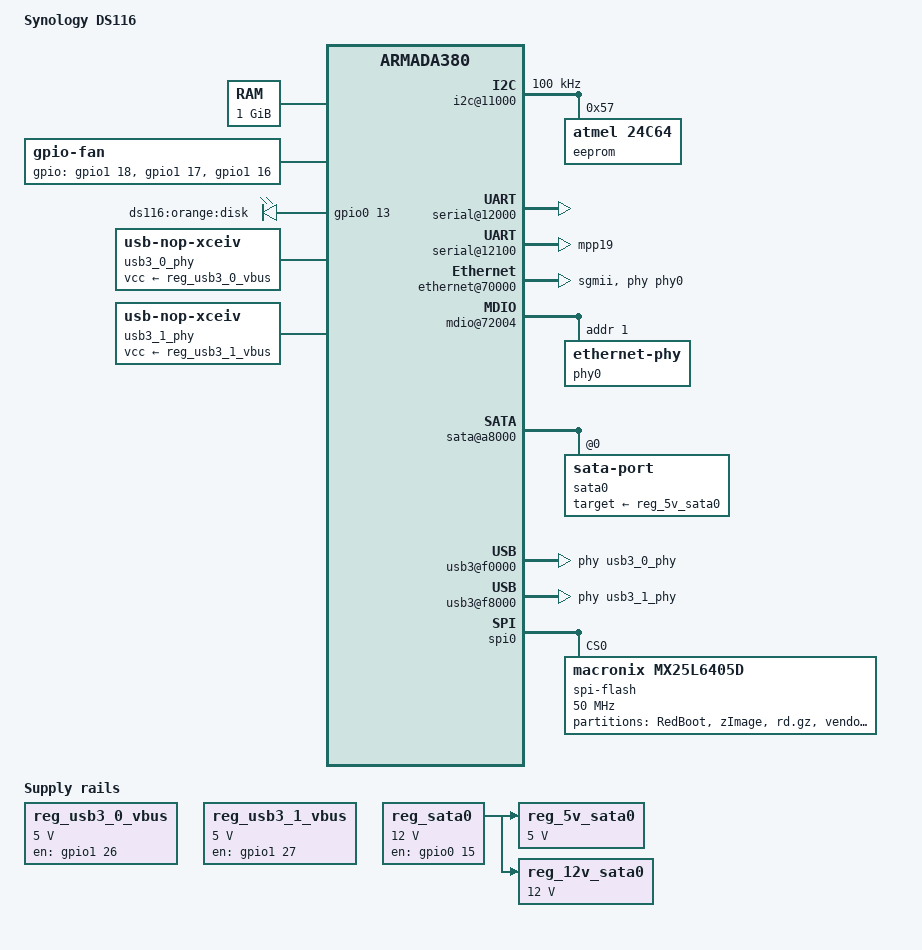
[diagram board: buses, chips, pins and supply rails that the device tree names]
/*
 * Device Tree file for Synology DS116 NAS
 *
 * Copyright (C) 2017 Willy Tarreau <w@1wt.eu>
 *
 * This file is dual-licensed: you can use it either under the terms
 * of the GPL or the X11 license, at your option. Note that this dual
 * licensing only applies to this file, and not this project as a
 * whole.
 *
 *  a) This file is licensed under the terms of the GNU General Public
 *     License version 2.  This program is licensed "as is" without
 *     any warranty of any kind, whether express or implied.
 *
 * Or, alternatively,
 *
 *  b) Permission is hereby granted, free of charge, to any person
 *     obtaining a copy of this software and associated documentation
 *     files (the "Software"), to deal in the Software without
 *     restriction, including without limitation the rights to use,
 *     copy, modify, merge, publish, distribute, sublicense, and/or
 *     sell copies of the Software, and to permit persons to whom the
 *     Software is furnished to do so, subject to the following
 *     conditions:
 *
 *     The above copyright notice and this permission notice shall be
 *     included in all copies or substantial portions of the Software.
 *
 *     THE SOFTWARE IS PROVIDED "AS IS", WITHOUT WARRANTY OF ANY KIND,
 *     EXPRESS OR IMPLIED, INCLUDING BUT NOT LIMITED TO THE WARRANTIES
 *     OF MERCHANTABILITY, FITNESS FOR A PARTICULAR PURPOSE AND
 *     NONINFRINGEMENT. IN NO EVENT SHALL THE AUTHORS OR COPYRIGHT
 *     HOLDERS BE LIABLE FOR ANY CLAIM, DAMAGES OR OTHER LIABILITY,
 *     WHETHER IN AN ACTION OF CONTRACT, TORT OR OTHERWISE, ARISING
 *     FROM, OUT OF OR IN CONNECTION WITH THE SOFTWARE OR THE USE OR
 *     OTHER DEALINGS IN THE SOFTWARE.
 */

/dts-v1/;
#include "armada-385.dtsi"
#include <dt-bindings/gpio/gpio.h>

/ {
	model = "Synology DS116";
	compatible = "marvell,a385-gp", "marvell,armada385", "marvell,armada380";

	chosen {
		stdout-path = "serial0:115200n8";
	};

	memory {
		device_type = "memory";
		reg = <0x00000000 0x40000000>; /* 1 GB */
	};

	soc {
		ranges = <MBUS_ID(0xf0, 0x01) 0 0xf1000000 0x100000
			  MBUS_ID(0x01, 0x1d) 0 0xfff00000 0x100000
			  MBUS_ID(0x09, 0x19) 0 0xf1100000 0x10000
			  MBUS_ID(0x09, 0x15) 0 0xf1110000 0x10000
			  MBUS_ID(0x0c, 0x04) 0 0xf1200000 0x100000>;

		internal-regs {
			i2c@11000 {
				pinctrl-names = "default";
				pinctrl-0 = <&i2c0_pins>;
				status = "okay";
				clock-frequency = <100000>;

				eeprom@57 {
					compatible = "atmel,24c64";
					reg = <0x57>;
				};
			};

			serial@12000 {
				pinctrl-names = "default";
				pinctrl-0 = <&uart0_pins>;
				status = "okay";
			};

			serial@12100 {
				/* A PIC16F1829 is connected to uart1 at 9600 bps,
				 * and takes single-character orders :
				 *   "1" : power off // already handled by the poweroff node
				 *   "2" : short beep
				 *   "3" : long beep
				 *   "4" : turn the power LED ON
				 *   "5" : flash the power LED
				 *   "6" : turn the power LED OFF
				 *   "7" : turn the status LED OFF
				 *   "8" : turn the status LED ON
				 *   "9" : flash the status LED
				 *   "A" : flash the motherboard LED (D8)
				 *   "B" : turn the motherboard LED OFF
				 *   "C" : hard reset
				 */
				pinctrl-names = "default";
				pinctrl-0 = <&uart1_pins>;
				status = "okay";
			};

			poweroff@12100 {
				compatible = "synology,power-off";
				reg = <0x12100 0x100>;
				clocks = <&coreclk 0>;
			};

			ethernet@70000 {
				pinctrl-names = "default";
				phy = <&phy0>;
				phy-mode = "sgmii";
				buffer-manager = <&bm>;
				bm,pool-long = <0>;
				status = "okay";
			};


			mdio@72004 {
				pinctrl-names = "default";
				pinctrl-0 = <&mdio_pins>;

				phy0: ethernet-phy@1 {
					reg = <1>;
				};
			};

			sata@a8000 {
				pinctrl-names = "default";
				pinctrl-0 = <&sata0_pins>;
				status = "okay";
				#address-cells = <1>;
				#size-cells = <0>;

				sata0: sata-port@0 {
					reg = <0>;
					target-supply = <&reg_5v_sata0>;
				};
			};

			bm@c8000 {
				status = "okay";
			};

			usb3@f0000 {
				usb-phy = <&usb3_0_phy>;
				status = "okay";
			};

			usb3@f8000 {
				usb-phy = <&usb3_1_phy>;
				status = "okay";
			};
		};

		bm-bppi {
			status = "okay";
		};

		gpio-fan {
			compatible = "gpio-fan";
			gpios = <&gpio1 18 GPIO_ACTIVE_HIGH>,
				<&gpio1 17 GPIO_ACTIVE_HIGH>,
				<&gpio1 16 GPIO_ACTIVE_HIGH>;
			gpio-fan,speed-map = <   0 0
					      1500 1
					      2500 2
					      3000 3
					      3400 4
					      3700 5
					      3900 6
					      4000 7>;
			cooling-cells = <2>;
		};

		gpio-leds {
			compatible = "gpio-leds";

			/* The green part is on gpio0.20 which is also used by
			 * sata0, and accesses to SATA disk 0 make it blink so it
			 * doesn't need to be declared here.
			 */
			orange {
				gpios = <&gpio0 13 GPIO_ACTIVE_HIGH>;
				label = "ds116:orange:disk";
				default-state = "off";
			};
		};
	};

	usb3_0_phy: usb3_0_phy {
		compatible = "usb-nop-xceiv";
		vcc-supply = <&reg_usb3_0_vbus>;
	};

	usb3_1_phy: usb3_1_phy {
		compatible = "usb-nop-xceiv";
		vcc-supply = <&reg_usb3_1_vbus>;
	};

	reg_usb3_0_vbus: usb3-vbus0 {
		compatible = "regulator-fixed";
		regulator-name = "usb3-vbus0";
		pinctrl-names = "default";
		pinctrl-0 = <&xhci0_vbus_pins>;
		regulator-min-microvolt = <5000000>;
		regulator-max-microvolt = <5000000>;
		enable-active-high;
		gpio = <&gpio1 26 GPIO_ACTIVE_HIGH>;
	};

	reg_usb3_1_vbus: usb3-vbus1 {
		compatible = "regulator-fixed";
		regulator-name = "usb3-vbus1";
		pinctrl-names = "default";
		pinctrl-0 = <&xhci1_vbus_pins>;
		regulator-min-microvolt = <5000000>;
		regulator-max-microvolt = <5000000>;
		enable-active-high;
		gpio = <&gpio1 27 GPIO_ACTIVE_HIGH>;
	};

	reg_sata0: pwr-sata0 {
		compatible = "regulator-fixed";
		regulator-name = "pwr_en_sata0";
		regulator-min-microvolt = <12000000>;
		regulator-max-microvolt = <12000000>;
		enable-active-high;
		regulator-boot-on;
		gpio = <&gpio0 15 GPIO_ACTIVE_HIGH>;
	};

	reg_5v_sata0: v5-sata0 {
		compatible = "regulator-fixed";
		regulator-name = "v5.0-sata0";
		regulator-min-microvolt = <5000000>;
		regulator-max-microvolt = <5000000>;
		vin-supply = <&reg_sata0>;
	};

	reg_12v_sata0: v12-sata0 {
		compatible = "regulator-fixed";
		regulator-name = "v12.0-sata0";
		regulator-min-microvolt = <12000000>;
		regulator-max-microvolt = <12000000>;
		vin-supply = <&reg_sata0>;
	};
};

&spi0 {
	pinctrl-names = "default";
	pinctrl-0 = <&spi0_pins>;
	status = "okay";

	spi-flash@0 {
		#address-cells = <1>;
		#size-cells = <1>;
		compatible = "macronix,mx25l6405d", "jedec,spi-nor";
		reg = <0>; /* Chip select 0 */
		spi-max-frequency = <50000000>;
		m25p,fast-read;

		/* Note: there is a redboot partition table despite u-boot
		 * being used. The names presented here are the same as those
		 * found in the FIS directory. There is also a small device
		 * tree in the last 64kB of the RedBoot partition which is not
		 * enumerated. The MAC address and the serial number are listed
		 * in the "vendor" partition.
		 */
		partition@00000000 {
			label = "RedBoot";
			reg = <0x00000000 0x000f0000>;
			read-only;
		};

		partition@000c0000 {
			label = "zImage";
			reg = <0x000f0000 0x002d0000>;
		};

		partition@00390000 {
			label = "rd.gz";
			reg = <0x003c0000 0x00410000>;
		};

		partition@007d0000 {
			label = "vendor";
			reg = <0x007d0000 0x00010000>;
			read-only;
		};

		partition@007e0000 {
			label = "RedBoot config";
			reg = <0x007e0000 0x00010000>;
			read-only;
		};

		partition@007f0000 {
			label = "FIS directory";
			reg = <0x007f0000 0x00010000>;
			read-only;
		};
	};
};

&pinctrl {
	/* use only one pin for UART1, as mpp20 is used by sata0 */
	uart1_pins: uart-pins-1 {
		marvell,pins = "mpp19";
		marvell,function = "ua1";
	};

	xhci0_vbus_pins: xhci0_vbus_pins {
		marvell,pins = "mpp58";
		marvell,function = "gpio";
	};
	xhci1_vbus_pins: xhci1_vbus_pins {
		marvell,pins = "mpp59";
		marvell,function = "gpio";
	};
};
